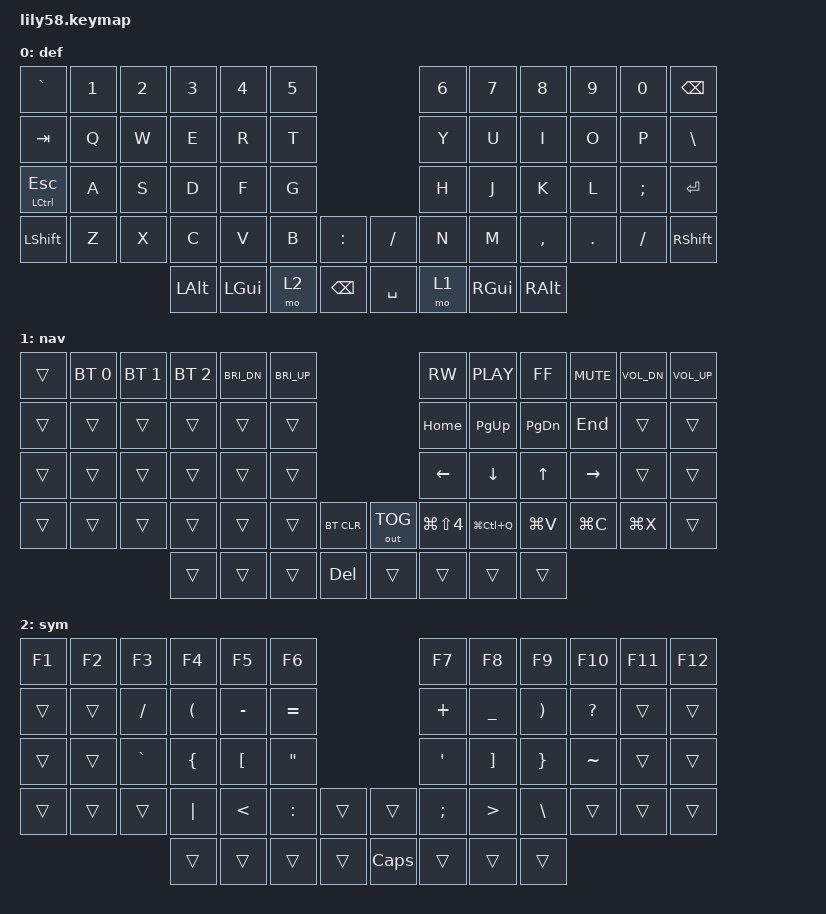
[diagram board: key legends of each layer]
/*
 * Copyright (c) 2020 The ZMK Contributors
 *
 * SPDX-License-Identifier: MIT
 */

#include <behaviors.dtsi>
#include <dt-bindings/zmk/keys.h>
#include <dt-bindings/zmk/bt.h>
#include <dt-bindings/zmk/outputs.h>

/ {

	keymap {
		compatible = "zmk,keymap";

		default_layer {
			label = "def";
			bindings = <
&kp GRAVE	    &kp N1  &kp N2  &kp N3      &kp N4      &kp N5							&kp N6  &kp N7   &kp N8    &kp N9  &kp N0   &kp BSPC
&kp TAB   	    &kp Q   &kp W   &kp E       &kp R       &kp T                           &kp Y   &kp U    &kp I     &kp O   &kp P    &kp BSLH
&mt LCTRL ESC   &kp A   &kp S   &kp D       &kp F       &kp G                      		&kp H   &kp J    &kp K     &kp L   &kp SEMI &kp RET
&kp LSHFT		&kp Z   &kp X   &kp C       &kp V       &kp B  &kp COLON    &kp SLASH   &kp N   &kp M    &kp COMMA &kp DOT &kp FSLH &kp RSHFT
								&kp LALT    &kp LGUI    &mo 2  &kp BSPC     &kp SPACE   &mo 1   &kp RGUI &kp RALT
			>;
		};

		navigation {
			label = "nav";
			bindings = <
&trans	&bt BT_SEL 0 	&bt BT_SEL 1	&bt BT_SEL 2    &kp C_BRI_DN    &kp C_BRI_UP								&kp C_RW		&kp C_PLAY    	&kp C_FF   	 	&kp C_MUTE  &kp C_VOL_DN    &kp C_VOL_UP
&trans    	&trans    	&trans      	&trans		    &trans			&trans										&kp HOME 		&kp PG_UP       &kp PG_DN  		&kp END     &trans			&trans
&trans    	&trans    	&trans      	&trans    		&trans 			&trans                    					&kp LEFT    	&kp DOWN      	&kp UP     		&kp RIGHT	&trans 			&trans
&trans    	&trans    	&trans      	&trans    		&trans 			&trans          &bt BT_CLR  &out OUT_TOG	&kp LG(LS(N4))  &kp LG(LC(Q)) 	&kp LG(V)  		&kp LG(C)   &kp LG(X)		&trans
										&trans      	&trans    		&trans     		&kp DEL     &trans			&trans			&trans        	&trans
			>;
		};

		symbol {
			label = "sym";
			bindings = <
&kp F1    &kp F2    &kp F3		&kp F4      &kp F5    &kp F6						&kp F7      &kp F8      &kp F9    &kp F10   &kp F11     &kp F12
&trans    &trans    &kp FSLH    &kp LPAR    &kp MINUS &kp EQUAL                   	&kp PLUS    &kp UNDER   &kp RPAR  &kp QMARK &trans      &trans
&trans    &trans    &kp GRAVE   &kp LBRC    &kp LBKT  &kp DQT                     	&kp SQT     &kp RBKT    &kp RBRC  &kp TILDE &trans      &trans
&trans    &trans    &trans      &kp PIPE    &kp LT    &kp COLON  &trans   &trans  	&kp SEMI    &kp GT      &kp BSLH  &trans    &trans      &trans
								&trans		&trans    &trans     &trans   &kp CLCK	&trans	    &trans		&trans
			>;
		};
	};

};
